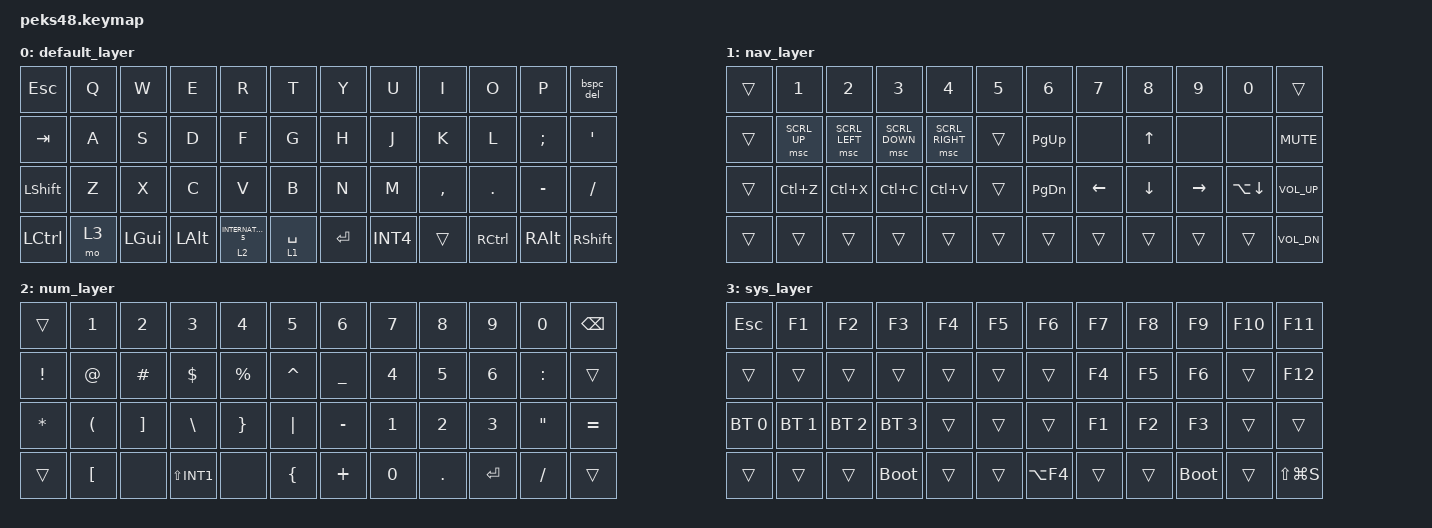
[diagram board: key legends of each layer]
#include <behaviors.dtsi>
#include <dt-bindings/zmk/bt.h>
#include <dt-bindings/zmk/keys.h>
#include <dt-bindings/zmk/pointing.h>

/ {
    behaviors {
        // Shift + Backspace で Delete になる設定

        bspc_del: backspace_delete {
            compatible = "zmk,behavior-mod-morph";
            #binding-cells = <0>;
            bindings = <&kp BSPC>, <&kp DEL>;

            mods = <(MOD_LSFT|MOD_RSFT)>;
        };
    };

    combos {
        compatible = "zmk,combos";

        combo_bt_clr {
            timeout-ms = <50>;
            key-positions = <36 47 0>;
            bindings = <&bt BT_CLR_ALL>;
        };

        combo_sys_reset {
            timeout-ms = <50>;
            key-positions = <36 47 5>;
            bindings = <&sys_reset>;
        };
    };

    keymap {
        compatible = "zmk,keymap";

        default_layer {
            bindings = <
&kp ESC    &kp Q  &kp W     &kp E         &kp R                  &kp T          &kp Y      &kp U     &kp I      &kp O              &kp P      &bspc_del
&kp TAB    &kp A  &kp S     &kp D         &kp F                  &kp G          &kp H      &kp J     &kp K      &kp L              &kp SEMI   &kp SQT
&kp LSHFT  &kp Z  &kp X     &kp C         &kp V                  &kp B          &kp N      &kp M     &kp COMMA  &kp DOT            &kp MINUS  &kp FSLH
&kp LCTRL  &mo 3  &kp LGUI  &kp LEFT_ALT  &lt 2 INTERNATIONAL_5  &lt 1 SPACE    &kp ENTER  &kp INT4  &trans     &kp RIGHT_CONTROL  &kp RALT   &kp RSHFT
            >;
        };

        nav_layer {
            bindings = <
&trans  &kp N1        &kp N2          &kp N3          &kp N4           &kp N5    &kp N6     &kp N7    &kp N8    &kp N9           &kp N0        &trans
&trans  &msc SCRL_UP  &msc SCRL_LEFT  &msc SCRL_DOWN  &msc SCRL_RIGHT  &trans    &kp PG_UP  &none     &kp UP    &none            &none         &kp C_MUTE
&trans  &kp LC(Z)     &kp LC(X)       &kp LC(C)       &kp LC(V)        &trans    &kp PG_DN  &kp LEFT  &kp DOWN  &kp RIGHT_ARROW  &kp LA(DOWN)  &kp C_VOL_UP
&trans  &trans        &trans          &trans          &trans           &trans    &trans     &trans    &trans    &trans           &trans        &kp C_VOL_DN
            >;
        };

        num_layer {
            bindings = <
&trans    &kp N1    &kp N2    &kp N3        &kp N4     &kp N5       &kp N6     &kp N7  &kp N8   &kp N9   &kp N0     &kp BSPC
&kp EXCL  &kp AT    &kp HASH  &kp DLLR      &kp PRCNT  &kp CARET    &kp UNDER  &kp N4  &kp N5   &kp N6   &kp COLON  &trans
&kp STAR  &kp LPAR  &kp RBKT  &kp BSLH      &kp RBRC   &kp PIPE     &kp MINUS  &kp N1  &kp N2   &kp N3   &kp DQT    &kp EQUAL
&trans    &kp LBKT  &none     &kp LS(INT1)  &none      &kp LBRC     &kp PLUS   &kp N0  &kp DOT  &kp RET  &kp FSLH   &trans
            >;
        };

        sys_layer {
            bindings = <
&kp ESC       &kp F1        &kp F2        &kp F3        &kp F4  &kp F5    &kp F6      &kp F7  &kp F8  &kp F9       &kp F10  &kp F11
&trans        &trans        &trans        &trans        &trans  &trans    &trans      &kp F4  &kp F5  &kp F6       &trans   &kp F12
&bt BT_SEL 0  &bt BT_SEL 1  &bt BT_SEL 2  &bt BT_SEL 3  &trans  &trans    &trans      &kp F1  &kp F2  &kp F3       &trans   &trans
&trans        &trans        &trans        &bootloader   &trans  &trans    &kp LA(F4)  &trans  &trans  &bootloader  &trans   &kp LS(LG(S))
            >;
        };
    };
};
